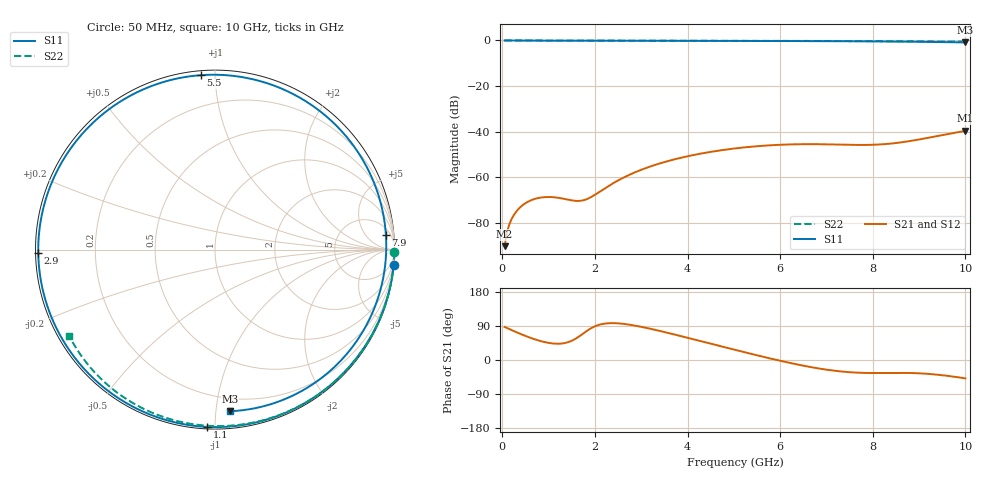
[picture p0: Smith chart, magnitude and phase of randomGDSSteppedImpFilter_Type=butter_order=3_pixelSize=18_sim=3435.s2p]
! freq	dB(S11)	phase(S11)	dB(S12)	phase(S12)
!  dB(S21)	phase(S21)	dB(S22)	phase(S22)
!S-par simulation data
#  GHz  S  DB  R 50
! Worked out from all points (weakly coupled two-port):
!   200 points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, 50 MHz to 10 GHz, reference 50 ohm
!   highest |S21| = -39.68 dB at 10 GHz (marker M1); lowest = -90.3 dB at 50 MHz (marker M2)
!   lowest |S11| = -0.9 dB at 10 GHz (marker M3), VSWR 19.91, Z = 5.52 - j54.6 ohm
!   |S11| at or under -10 dB: nowhere
!   |S22| runs from -0.5 to 0.0 dB; largest |S21 - S12| = 0
!   S11 on the Smith chart (normalised r, x): 50 MHz: 0, -24; 1.1 GHz: 0.01, -0.96; 2.9 GHz: 0.01, -0.01; 5.5 GHz: 0.02, +0.92; 7.9 GHz: 10, +18; 10 GHz: 0.11, -1.09
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0.05  -0.00 -4.8  -90.34 87.2  -90.34 87.2  -0.00 -0.9
0.15  -0.02 -14.3  -80.89 81.7  -80.89 81.7  -0.00 -2.6
0.35  -0.05 -32.8  -73.98 71.0  -73.98 71.0  -0.01 -6.0
0.6  -0.07 -54.7  -70.37 58.9  -70.37 58.9  -0.01 -10.3
0.85  -0.09 -74.7  -68.94 49.2  -68.94 49.2  -0.02 -14.6
1.1  -0.10 -92.6  -68.83 43.6  -68.83 43.6  -0.02 -18.9
1.45  -0.11 -114.4  -70.03 48.2  -70.03 48.2  -0.03 -24.8
1.75  -0.11 -130.5  -70.18 70.2  -70.18 70.2  -0.04 -29.8
2.3  -0.12 -155.7  -63.85 97.1  -63.85 97.1  -0.05 -38.9
2.9  -0.13 -178.9  -57.61 89.9  -57.61 89.9  -0.06 -48.6
3.4  -0.14 163.7  -54.01 76.7  -54.01 76.7  -0.07 -56.6
4.25  -0.17 135.7  -49.83 50.9  -49.83 50.9  -0.10 -69.7
5.05  -0.20 109.6  -47.35 26.0  -47.35 26.0  -0.12 -81.7
5.5  -0.22 94.6  -46.45 12.4  -46.45 12.4  -0.14 -88.2
6.1  -0.25 73.7  -45.73 -4.7  -45.73 -4.7  -0.17 -96.7
6.7  -0.29 51.8  -45.54 -19.6  -45.54 -19.6  -0.20 -105.1
7.35  -0.34 26.8  -45.78 -30.7  -45.78 -30.7  -0.25 -113.9
7.9  -0.39 4.8  -45.87 -34.3  -45.87 -34.3  -0.29 -121.3
8.35  -0.46 -13.7  -45.37 -34.1  -45.37 -34.1  -0.32 -127.3
8.8  -0.54 -32.5  -44.18 -34.2  -44.18 -34.2  -0.37 -133.3
9.25  -0.64 -51.7  -42.55 -37.1  -42.55 -37.1  -0.41 -139.2
10  -0.87 -84.7  -39.68 -48.5  -39.68 -48.5  -0.50 -149.3
